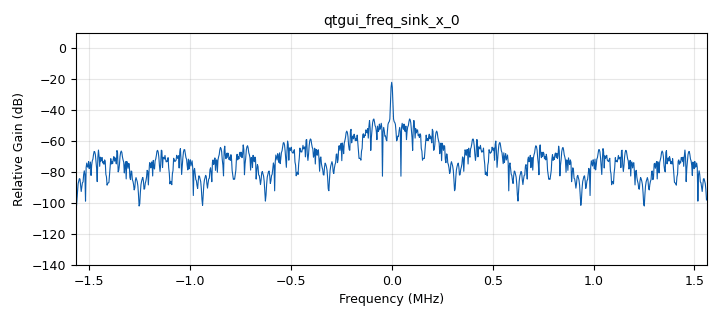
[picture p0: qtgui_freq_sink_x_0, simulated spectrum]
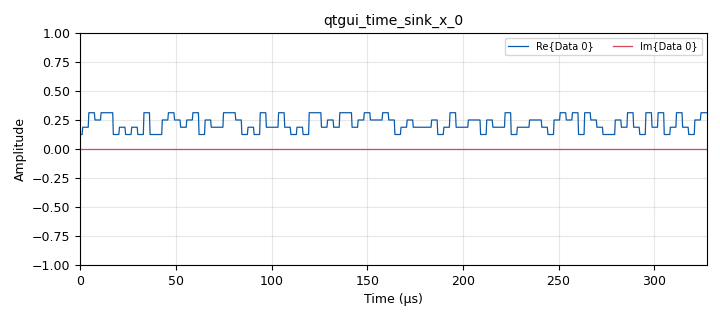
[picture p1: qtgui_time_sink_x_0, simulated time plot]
options:
  parameters:
    generate_options: qt_gui
    id: Prueba_2
    output_language: python
    title: Not titled yet
  states: {}

blocks:
- name: A
  id: variable_qtgui_range
  parameters:
    label: Amplitud de señal
    start: '0'
    step: '1e-2'
    stop: '2'
    value: '1'
  states: {}
- name: Ac
  id: variable_qtgui_range
  parameters:
    label: Amplitud de portadora
    start: '0'
    step: '1e-2'
    stop: '2'
    value: '0.25'
  states: {}
- name: B
  id: variable_qtgui_range
  parameters:
    label: '# de muestras por simbolo'
    start: '1'
    step: '1'
    stop: '20'
    value: '10'
  states: {}
- name: GTX
  id: variable_qtgui_range
  parameters:
    label: Ganancia...Transmisor
    start: '0'
    step: '500e-3'
    stop: '30'
    value: '500e-3'
  states: {}
- name: fc
  id: variable_qtgui_range
  parameters:
    label: Frecuencia portadora
    start: 50e6
    step: 1e5
    stop: 1e9
    value: 200e6
  states: {}
- name: fm
  id: variable_qtgui_range
  parameters:
    label: Frecuencia señal
    start: '1000'
    step: '1000'
    stop: '1000000'
    value: '10000'
  states: {}
- name: ka
  id: variable_qtgui_range
  parameters:
    label: coeficiente ka
    start: '0'
    step: '1e-2'
    stop: '4'
    value: '1'
  states: {}
- name: n
  id: variable
  parameters:
    value: '2'
  states: {}
- name: samp_rate
  id: variable
  parameters:
    value: int(25e6/8)
  states: {}
- name: analog_random_source_x_0
  id: analog_random_source_x
  parameters:
    max: int(math.pow(2,n))
    min: '0'
    num_samps: '1000'
    repeat: 'True'
    type: byte
  states: {}
- name: analog_sig_source_x_0
  id: analog_sig_source_x
  parameters:
    amp: A
    freq: fm
    offset: '0'
    phase: '0'
    samp_rate: samp_rate
    type: float
    waveform: analog.GR_COS_WAVE
  states: {state: disabled}
- name: blocks_add_const_vxx_0
  id: blocks_add_const_vxx
  parameters:
    const: '1'
    type: float
  states: {}
- name: blocks_add_const_vxx_0_0
  id: blocks_add_const_vxx
  parameters:
    const: '-(math.pow(2,n))/2'
    type: float
  states: {}
- name: blocks_float_to_complex_0_0
  id: blocks_float_to_complex
  parameters: {}
  states: {}
- name: blocks_multiply_const_vxx_0
  id: blocks_multiply_const_vxx
  parameters:
    const: ka
    type: float
  states: {}
- name: blocks_multiply_const_vxx_0_0
  id: blocks_multiply_const_vxx
  parameters:
    const: 1/math.pow(2,n)
    type: float
  states: {}
- name: blocks_multiply_const_vxx_2
  id: blocks_multiply_const_vxx
  parameters:
    const: Ac
    type: complex
  states: {}
- name: blocks_null_source_0
  id: blocks_null_source
  parameters:
    type: float
  states: {}
- name: blocks_repeat_0
  id: blocks_repeat
  parameters:
    interp: '10'
    type: float
  states: {}
- name: blocks_throttle2_0
  id: blocks_throttle2
  parameters:
    samples_per_second: samp_rate
    type: float
  states: {}
- name: blocks_uchar_to_float_0
  id: blocks_uchar_to_float
  parameters: {}
  states: {}
- name: import_0
  id: import
  parameters:
    imports: import math
  states: {}
- name: qtgui_freq_sink_x_0
  id: qtgui_freq_sink_x
  parameters:
    bw: samp_rate
    fc: '0'
    fftsize: '1024'
    type: complex
  states: {}
- name: qtgui_time_sink_x_0
  id: qtgui_time_sink_x
  parameters:
    size: '1024'
    srate: samp_rate
    type: complex
  states: {}
- name: uhd_usrp_sink_0
  id: uhd_usrp_sink
  parameters:
    ant0: '"TX/RX"'
    center_freq0: fc
    gain0: GTX
    samp_rate: samp_rate
    sync: pc_clock
    type: fc32
  states: {}
- name: virtual_sink_0
  id: virtual_sink
  parameters:
    stream_id: m_t
  states: {}
- name: virtual_source_0
  id: virtual_source
  parameters:
    stream_id: m_t
  states: {}

connections:
- [analog_random_source_x_0, '0', blocks_uchar_to_float_0, '0']
- [analog_sig_source_x_0, '0', blocks_throttle2_0, '0']
- [blocks_add_const_vxx_0, '0', blocks_float_to_complex_0_0, '0']
- [blocks_add_const_vxx_0_0, '0', blocks_multiply_const_vxx_0_0, '0']
- [blocks_float_to_complex_0_0, '0', blocks_multiply_const_vxx_2, '0']
- [blocks_multiply_const_vxx_0, '0', blocks_add_const_vxx_0, '0']
- [blocks_multiply_const_vxx_0_0, '0', virtual_sink_0, '0']
- [blocks_multiply_const_vxx_2, '0', qtgui_freq_sink_x_0, '0']
- [blocks_multiply_const_vxx_2, '0', qtgui_time_sink_x_0, '0']
- [blocks_multiply_const_vxx_2, '0', uhd_usrp_sink_0, '0']
- [blocks_null_source_0, '0', blocks_float_to_complex_0_0, '1']
- [blocks_repeat_0, '0', blocks_add_const_vxx_0_0, '0']
- [blocks_throttle2_0, '0', blocks_multiply_const_vxx_0, '0']
- [blocks_uchar_to_float_0, '0', blocks_repeat_0, '0']
- [virtual_source_0, '0', blocks_throttle2_0, '0']

metadata:
  file_format: 1
  grc_version: v3.11.0.0git-810-g1ecb8565
